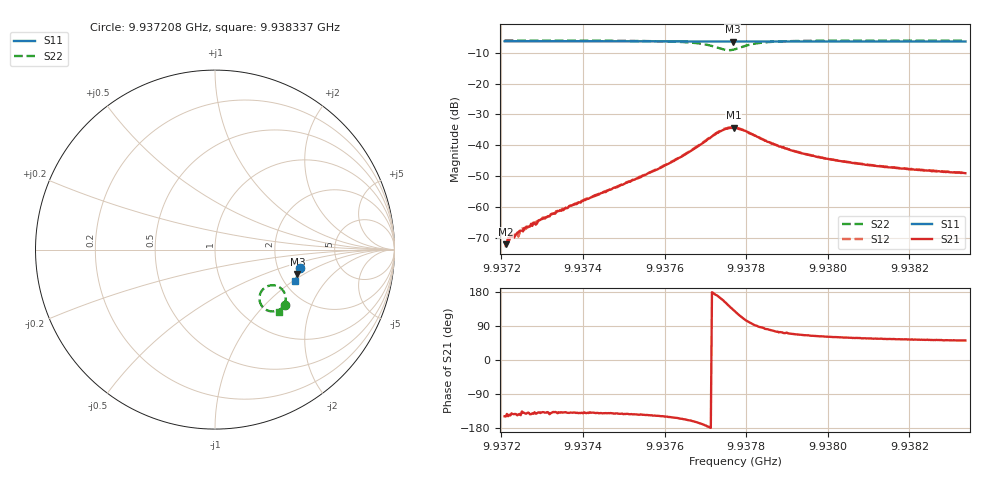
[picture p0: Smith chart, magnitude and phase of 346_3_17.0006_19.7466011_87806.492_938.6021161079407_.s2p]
#  HZ  S  RI  R  50.00
! Rohde & Schwarz Vector Network Analyzer
! Rohde-Schwarz,ZNB20-2Port,1311601062101988,3.16
! Created: UTC 3/20/2024, 11:07:38 PM
! freq[Hz]  re:S11  im:S11  re:S21  im:S21  re:S12  im:S12  re:S22  im:S22
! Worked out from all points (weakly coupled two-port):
!   401 points, 9.937208 GHz to 9.938337 GHz, reference 50 ohm
!   highest |S21| = -34.30 dB at 9.93777 GHz (marker M1); lowest = -72.1 dB at 9.937211 GHz (marker M2)
!   lowest |S11| = -6.4 dB at 9.937767 GHz (marker M3), VSWR 2.84, Z = 124 - j44.1 ohm
!   |S11| at or under -10 dB: nowhere
!   |S22| runs from -9.2 to -6.0 dB; largest |S21 - S12| = 0.00084
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9.9372078e9  0.4732 -0.1019  -0.000226 -0.000138  -0.000198 -0.00012  0.3898 -0.3107
9.9372106e9  0.4729 -0.1021  -0.000213 -0.000127  -0.000195 -0.000127  0.3896 -0.3107
9.9372219e9  0.4727 -0.1028  -0.000274 -0.000182  -0.000284 -0.000171  0.3886 -0.3117
9.9372388e9  0.4724 -0.1043  -0.000318 -0.000214  -0.000305 -0.000236  0.3876 -0.3126
9.937253e9  0.4721 -0.1051  -0.000304 -0.000264  -0.000358 -0.000268  0.3868 -0.3138
9.9372614e9  0.472 -0.1056  -0.000376 -0.000301  -0.000329 -0.000309  0.3861 -0.3144
9.9372982e9  0.4713 -0.1081  -0.000478 -0.000426  -0.00049 -0.000399  0.3834 -0.3171
9.937397e9  0.4692 -0.1146  -0.000939 -0.000816  -0.000964 -0.000799  0.3748 -0.3244
9.9375862e9  0.4649 -0.1275  -0.00355 -0.00226  -0.00366 -0.00221  0.343 -0.3413
9.9376455e9  0.4634 -0.1315  -0.00623 -0.00276  -0.00634 -0.00271  0.3187 -0.3447
9.9376992e9  0.4615 -0.1349  -0.0114 -0.00152  -0.0117 -0.00134  0.2763 -0.3299
9.9377415e9  0.4596 -0.1368  -0.0163 0.00614  -0.0165 0.00681  0.2479 -0.2625
9.937767e9  0.4591 -0.1375  -0.0133 0.0138  -0.0131 0.0146  0.2829 -0.209
9.9377698e9  0.4592 -0.1376  -0.0126 0.0146  -0.0123 0.015  0.2894 -0.2053
9.9377726e9  0.4591 -0.1378  -0.0117 0.015  -0.0114 0.0157  0.2963 -0.2026
9.937798e9  0.4594 -0.1391  -0.0045 0.0165  -0.00419 0.0165  0.352 -0.2057
9.9378319e9  0.4592 -0.1416  0.000622 0.0132  0.000893 0.0134  0.3858 -0.2389
9.937894e9  0.4582 -0.146  0.00294 0.0085  0.00292 0.00845  0.3934 -0.2813
9.9379618e9  0.4566 -0.1506  0.00298 0.00606  0.00314 0.00611  0.3876 -0.3035
9.9380381e9  0.4546 -0.1557  0.00278 0.00469  0.00288 0.00468  0.3803 -0.3173
9.938151e9  0.4516 -0.163  0.00248 0.00363  0.00259 0.00363  0.3708 -0.3304
9.9383374e9  0.4463 -0.1749  0.00219 0.00276  0.0023 0.00276  0.3576 -0.345
